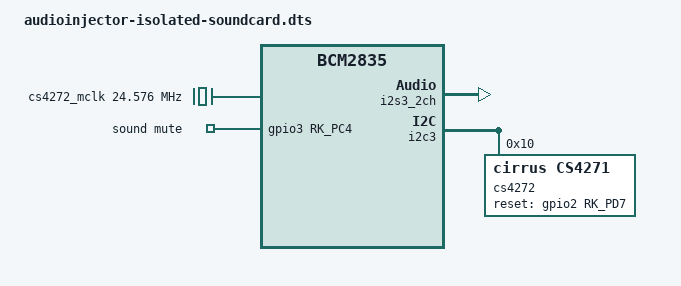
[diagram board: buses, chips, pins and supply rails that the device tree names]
// Definitions for audioinjector.net audio isolated soundcard
/dts-v1/;
/plugin/;

#include <dt-bindings/gpio/gpio.h>
#include <dt-bindings/pinctrl/rockchip.h>

/ {
	compatible = "brcm,bcm2835";

	fragment@0 {
		target = <&i2s3_2ch>;
		__overlay__ {
			status = "okay";
		};
	};

	fragment@1 {
		target-path = "/";
		__overlay__ {
			cs4272_mclk: codec-mclk {
				compatible = "fixed-clock";
				#clock-cells = <0>;
				clock-frequency = <24576000>;
			};
		};
	};

	fragment@2 {
		target = <&i2c3>;
		__overlay__ {
			#address-cells = <1>;
			#size-cells = <0>;
			status = "okay";
			pinctrl-0 = <&i2c3m0_xfer>;

			cs4272: cs4272@10 {
				#sound-dai-cells = <0>;
				compatible = "cirrus,cs4271";
				reg = <0x10>;
				//reset-gpio = <&gpio 5 0>;
				reset-gpio = <&gpio2 RK_PD7 GPIO_ACTIVE_HIGH>;
				clocks = <&cs4272_mclk>;
				clock-names = "mclk";
				status = "okay";
			};
		};
	};

	fragment@3 {
		target-path = "/";
		__overlay__ {
			sound {
				compatible = "ai,audioinjector-isolated-soundcard";
				//mute-gpios = <&gpio 17 0>;
				mute-gpios = <&gpio3 RK_PC4 GPIO_ACTIVE_HIGH>;
				i2s-controller = <&i2s3_2ch>;
				codec = <&cs4272>;
				status = "okay";
			};
		};
	};
};
